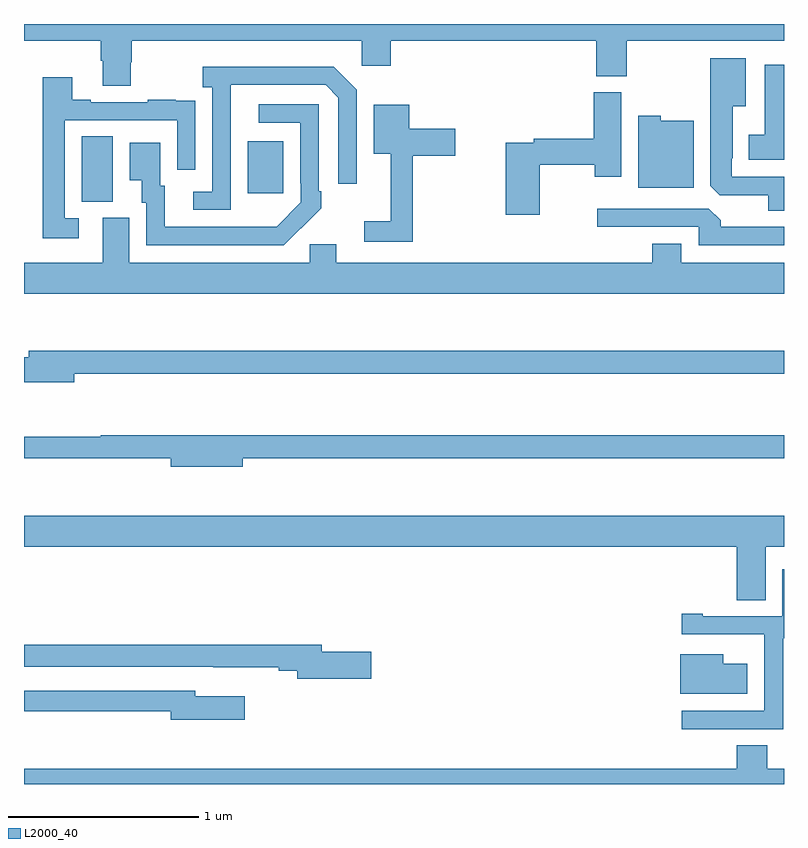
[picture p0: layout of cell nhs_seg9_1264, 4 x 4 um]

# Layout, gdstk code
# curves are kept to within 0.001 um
import gdstk
lib = gdstk.Library(unit=1e-6, precision=1e-09)
def R(c, l, rs):  # rectangles x0, y0, x1, y1
    for r in rs: c.add(gdstk.rectangle(r[:2], r[2:], *l))
def P(c, l, *ps):  # polygons
    for p in ps: c.add(gdstk.Polygon(p, *l))
L2000_40 = (2000, 40)

nhs_seg9_1264 = lib.new_cell('nhs_seg9_1264')
R(nhs_seg9_1264, L2000_40, [(181.304,1203.565,181.468,1203.908), (182.177,1203.609,182.365,1203.883)])
P(nhs_seg9_1264, L2000_40, [(181.563,1204.299),(181.568,1204.299),(181.568,1204.412),(182.778,1204.412),(182.778,1204.281),(182.93,1204.281),(182.93,1204.412),(184.013,1204.412),(184.013,1204.225),(184.173,1204.225),(184.173,1204.412),(185,1204.412),(185,1204.5),(181,1204.5),(181,1204.412),(181.403,1204.412),(181.403,1204.306),(181.415,1204.306),(181.415,1204.174),(181.563,1204.174)],
  [(185,1203.696),(184.725,1203.696),(184.725,1203.793),(184.729,1203.793),(184.729,1204.067),(184.798,1204.067),(184.798,1204.321),(184.613,1204.321),(184.613,1203.649),(184.662,1203.6),(184.916,1203.6),(184.916,1203.517),(185,1203.517)],
  [(185,1204.285),(184.898,1204.285),(184.898,1203.916),(184.814,1203.916),(184.814,1203.785),(185,1203.785)],
  [(182.088,1203.979),(182.089,1204.179),(182.589,1204.179),(182.655,1204.113),(182.655,1203.66),(182.751,1203.66),(182.751,1204.155),(182.63,1204.276),(181.941,1204.276),(181.941,1204.166),(181.992,1204.166),(181.992,1203.618),(181.89,1203.618),(181.89,1203.522),(182.088,1203.522)],
  [(181.288,1203.477),(181.215,1203.477),(181.215,1203.993),(181.806,1203.993),(181.806,1203.732),(181.902,1203.732),(181.902,1203.986),(181.901,1203.986),(181.901,1204.095),(181.799,1204.095),(181.799,1204.102),(181.651,1204.102),(181.651,1204.089),(181.351,1204.089),(181.351,1204.102),(181.255,1204.102),(181.255,1204.219),(181.099,1204.219),(181.099,1203.372),(181.288,1203.372)],
  [(183.714,1203.76),(184.003,1203.76),(184.003,1203.696),(184.144,1203.696),(184.144,1204.14),(183.998,1204.14),(183.998,1203.896),(183.682,1203.896),(183.682,1203.876),(183.536,1203.876),(183.536,1203.495),(183.714,1203.495)],
  [(182.459,1203.427),(182.46,1203.426),(182.565,1203.531),(182.565,1203.619),(182.55,1203.619),(182.55,1204.077),(182.235,1204.077),(182.235,1203.981),(182.454,1203.981),(182.454,1203.661),(182.457,1203.661),(182.457,1203.561),(182.329,1203.433),(181.741,1203.432),(181.741,1203.648),(181.717,1203.648),(181.717,1203.874),(181.556,1203.874),(181.556,1203.677),(181.619,1203.677),(181.619,1203.558),(181.644,1203.558),(181.644,1203.336),(182.368,1203.336)],
  [(183.047,1203.806),(183.271,1203.806),(183.271,1203.948),(183.028,1203.948),(183.028,1204.075),(182.84,1204.075),(182.84,1203.818),(182.93,1203.818),(182.93,1203.463),(182.79,1203.463),(182.79,1203.354),(183.047,1203.354)],
  [(184.525,1203.991),(184.35,1203.991),(184.35,1204.018),(184.232,1204.018),(184.232,1203.638),(184.525,1203.638)],
  [(185,1203.432),(184.667,1203.432),(184.667,1203.466),(184.605,1203.528),(184.017,1203.528),(184.017,1203.432),(184.551,1203.432),(184.551,1203.336),(185,1203.336)],
  [(185,1203.244),(184.459,1203.244),(184.459,1203.343),(184.307,1203.343),(184.307,1203.244),(182.644,1203.244),(182.644,1203.342),(182.505,1203.342),(182.505,1203.244),(181.555,1203.244),(181.555,1203.48),(181.415,1203.48),(181.415,1203.244),(181,1203.244),(181,1203.08),(185,1203.08)],
  [(181.264,1202.658),(185,1202.658),(185,1202.779),(181.025,1202.779),(181.025,1202.745),(181,1202.745),(181,1202.615),(181.264,1202.615)],
  [(182.152,1202.214),(185,1202.214),(185,1202.335),(181.404,1202.335),(181.404,1202.327),(181,1202.327),(181,1202.214),(181.772,1202.214),(181.772,1202.171),(182.152,1202.171)],
  [(184.903,1201.748),(185,1201.748),(185,1201.912),(181,1201.912),(181,1201.748),(184.751,1201.748),(184.751,1201.468),(184.903,1201.468)],
  [(184.995,1201.267),(185,1201.267),(185,1201.629),(184.992,1201.629),(184.992,1201.383),(184.573,1201.383),(184.573,1201.396),(184.461,1201.396),(184.461,1201.287),(184.895,1201.287),(184.895,1201.286),(184.896,1201.286),(184.896,1200.885),(184.461,1200.885),(184.461,1200.789),(184.995,1200.789)],
  [(182.827,1201.196),(182.566,1201.196),(182.566,1201.232),(181,1201.232),(181,1201.116),(181.996,1201.116),(181.996,1201.115),(182.342,1201.115),(182.342,1201.096),(182.438,1201.096),(182.438,1201.054),(182.827,1201.054)],
  [(184.807,1201.132),(184.681,1201.132),(184.681,1201.183),(184.454,1201.183),(184.454,1200.974),(184.807,1200.974)],
  [(182.161,1200.961),(181.9,1200.961),(181.9,1200.99),(181,1200.99),(181,1200.882),(181.772,1200.882),(181.772,1200.839),(182.161,1200.839)],
  [(185,1200.58),(184.911,1200.58),(184.911,1200.704),(184.751,1200.704),(184.751,1200.58),(181,1200.58),(181,1200.5),(185,1200.5)])

lib.write_gds('nhs_seg9_1264.gds')
